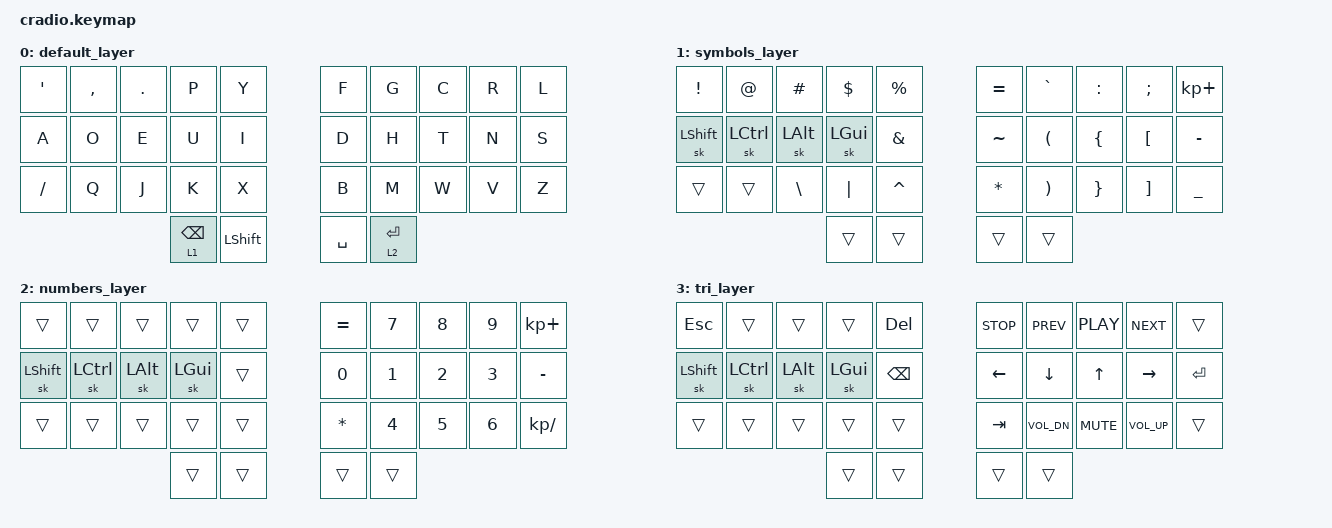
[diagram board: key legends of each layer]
// SPDX-License-Identifier: MIT

#include <behaviors.dtsi>
#include <dt-bindings/zmk/keys.h>
#include <dt-bindings/zmk/bt.h>

// Sticky left-hand modifiers: CAGS/⎈⎇◆⇧ (Ctrl, Alt, GUI, Shift)
#define LC_SK &sk LCTRL
#define LA_SK &sk LALT
#define LG_SK &sk LGUI
#define LS_SK &sk LSHIFT

/ {
    conditional_layers {
        compatible = "zmk,conditional-layers";
        tri_layer {
            if-layers = <1 2>;
            then-layer = <3>;
        };
    };

    keymap {
        compatible = "zmk,keymap";
        default_layer {
            bindings = <
        //╭──────────┬──────────┬──────────┬──────────┬──────────╮   ╭──────────┬──────────┬──────────┬──────────┬──────────╮
        //│  '       │  ,       │  .       │  P       │  Y       │   │  F       │  G       │  C       │  R       │  L       │
        //├──────────┼──────────┼──────────┼──────────┼──────────┤   ├──────────┼──────────┼──────────┼──────────┼──────────┤
        //│  A       │  O       │  E       │  U       │  I       │   │  D       │  H       │  T       │  N       │  S       │
        //├──────────┼──────────┼──────────┼──────────┼──────────┤   ├──────────┼──────────┼──────────┼──────────┼──────────┤
        //│  /       │  Q       │  J       │  K       │  X       │   │  B       │  M       │  W       │  V       │  Z       │
        //╰──────────┴──────────┴──────────┼──────────┼──────────┤   ├──────────┼──────────┼──────────┴──────────┴──────────╯
        //                                 │ Bspc L1  │ Shift    │   │ Space    │ Enter L2 │ 
        //                                 ╰──────────┴──────────╯   ╰──────────┴──────────╯
            &kp SQT    &kp COMMA   &kp DOT    &kp P        &kp Y          &kp F      &kp G         &kp C       &kp R         &kp L
            &kp A      &kp O       &kp E      &kp U        &kp I          &kp D      &kp H         &kp T       &kp N         &kp S
            &kp SLASH  &kp Q       &kp J      &kp K        &kp X          &kp B      &kp M         &kp W       &kp V         &kp Z
                                              &lt 1 BSPC   &kp LSHIFT     &kp SPACE  &lt 2 ENTER
            >;
        };

        symbols_layer {
            bindings = <
        //╭──────────┬──────────┬──────────┬──────────┬──────────╮   ╭──────────┬──────────┬──────────┬──────────┬──────────╮
        //│ !        │  @       │  #       │  $       │  %       │   │  =       │  `       │  :       │  ;       │  +       │
        //├──────────┼──────────┼──────────┼──────────┼──────────┤   ├──────────┼──────────┼──────────┼──────────┼──────────┤
        //│ Shift    │  Ctrl    │  Alt     │  Gui     │  &       │   │  ~       │  (       │  {       │  [       │  -       │
        //├──────────┼──────────┼──────────┼──────────┼──────────┤   ├──────────┼──────────┼──────────┼──────────┼──────────┤
        //│          │          │  \       │  |       │  ^       │   │  *       │  )       │  }       │  ]       │  _       │
        //╰──────────┴──────────┴──────────┼──────────┼──────────┤   ├──────────┼──────────┼──────────┴──────────┴──────────╯
        //                                 │  *****   │          │   │          │          │ 
        //                                 ╰──────────┴──────────╯   ╰──────────┴──────────╯
            &kp EXCL   &kp AT      &kp HASH   &kp DLLR   &kp PRCNT      &kp EQUAL  &kp GRAVE  &kp COLON  &kp SEMI   &kp KP_PLUS
            LS_SK      LC_SK       LA_SK      LG_SK      &kp AMPS       &kp TILDE  &kp LPAR   &kp LBRC   &kp LBKT   &kp MINUS
            &trans     &trans      &kp BSLH   &kp PIPE   &kp CARET      &kp ASTRK  &kp RPAR   &kp RBRC   &kp RBKT   &kp UNDER
                                              &trans     &trans         &trans     &trans
            >;
        };

        // Numbers
        numbers_layer {
            bindings = <
        //╭──────────┬──────────┬──────────┬──────────┬──────────╮   ╭──────────┬──────────┬──────────┬──────────┬──────────╮
        //│          │          │          │          │          │   │  =       │  7       │  8       │  9       │  +       │
        //├──────────┼──────────┼──────────┼──────────┼──────────┤   ├──────────┼──────────┼──────────┼──────────┼──────────┤
        //│ Shift    │  Ctrl    │  Alt     │  Gui     │          │   │  0       │  1       │  2       │  3       │  -       │
        //├──────────┼──────────┼──────────┼──────────┼──────────┤   ├──────────┼──────────┼──────────┼──────────┼──────────┤
        //│          │          │          │          │          │   │  *       │  4       │  5       │  6       │  /       │
        //╰──────────┴──────────┴──────────┼──────────┼──────────┤   ├──────────┼──────────┼──────────┴──────────┴──────────╯
        //                                 │          │          │   │          │  *****   │ 
        //                                 ╰──────────┴──────────╯   ╰──────────┴──────────╯
            &trans     &trans      &trans     &trans     &trans         &kp EQUAL  &kp N7     &kp N8     &kp N9     &kp KP_PLUS
            LS_SK      LC_SK       LA_SK      LG_SK      &trans         &kp N0     &kp N1     &kp N2     &kp N3     &kp MINUS
            &trans     &trans      &trans     &trans     &trans         &kp ASTRK  &kp N4     &kp N5     &kp N6     &kp KP_DIVIDE
                                              &trans     &trans         &trans     &trans
            >;
        };

        tri_layer {
            bindings = <
        //╭──────────┬──────────┬──────────┬──────────┬──────────╮   ╭──────────┬──────────┬──────────┬──────────┬──────────╮
        //│  Esc     │          │          │          │  DEL     │   │  Stop    │  PREV    │  Play    │  Next    │          │
        //├──────────┼──────────┼──────────┼──────────┼──────────┤   ├──────────┼──────────┼──────────┼──────────┼──────────┤
        //│  Shift   │  Ctrl    │  Alt     │  Gui     │  BSPC    │   │  Left    │  Down    │  Up      │  Right   │  Ent     │
        //├──────────┼──────────┼──────────┼──────────┼──────────┤   ├──────────┼──────────┼──────────┼──────────┼──────────┤
        //│          │          │          │          │          │   │  Tab     │  Vol-    │  Mute    │  Vol+    │          │
        //╰──────────┴──────────┴──────────┼──────────┼──────────┤   ├──────────┼──────────┼──────────┴──────────┴──────────╯
        //                                 │  *****   │          │   │          │  *****   │ 
        //                                 ╰──────────┴──────────╯   ╰──────────┴──────────╯
            &kp ESC    &trans      &trans     &trans     &kp DEL        &kp C_STOP    &kp C_PREV    &kp C_PLAY  &kp C_NEXT    &trans
            LS_SK      LC_SK       LA_SK      LG_SK      &kp BSPC       &kp LEFT      &kp DOWN      &kp UP      &kp RIGHT     &kp ENTER
            &trans     &trans      &trans     &trans     &trans         &kp TAB       &kp C_VOL_DN  &kp C_MUTE  &kp C_VOL_UP  &trans
                                              &trans     &trans         &trans        &trans
            >;
        };
    };
};
